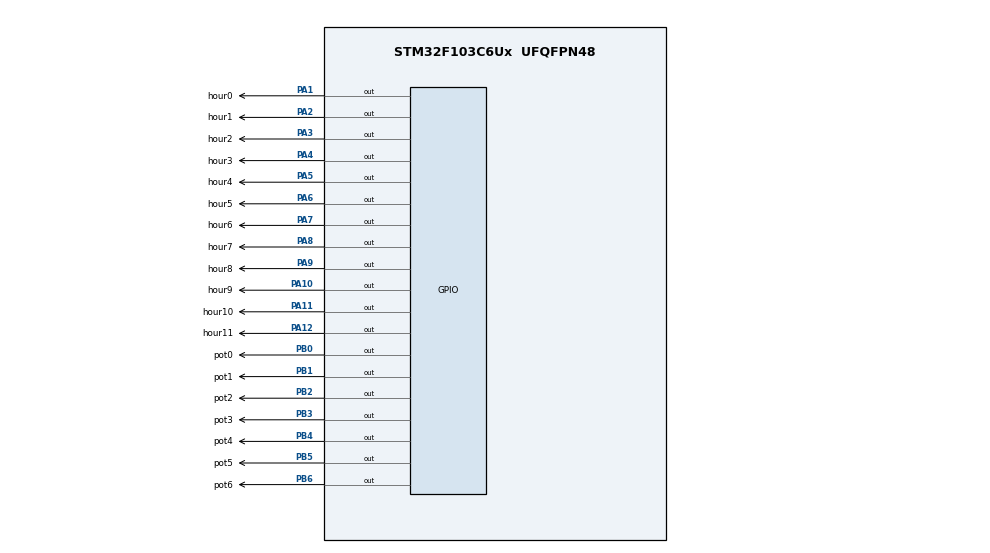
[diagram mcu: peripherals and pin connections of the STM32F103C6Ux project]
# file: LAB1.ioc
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Mcu.Family=STM32F1
Mcu.Name=STM32F103C6Ux
Mcu.Package=UFQFPN48
NVIC.PriorityGroup=NVIC_PRIORITYGROUP_4
PA1.GPIO_Label=hour0
PA1.Signal=GPIO_Output
PA10.GPIO_Label=hour9
PA10.Signal=GPIO_Output
PA11.GPIO_Label=hour10
PA11.Signal=GPIO_Output
PA12.GPIO_Label=hour11
PA12.Signal=GPIO_Output
PA2.GPIO_Label=hour1
PA2.Signal=GPIO_Output
PA3.GPIO_Label=hour2
PA3.Signal=GPIO_Output
PA4.GPIO_Label=hour3
PA4.Signal=GPIO_Output
PA5.GPIO_Label=hour4
PA5.Signal=GPIO_Output
PA6.GPIO_Label=hour5
PA6.Signal=GPIO_Output
PA7.GPIO_Label=hour6
PA7.Signal=GPIO_Output
PA8.GPIO_Label=hour7
PA8.Signal=GPIO_Output
PA9.GPIO_Label=hour8
PA9.Signal=GPIO_Output
PB0.GPIO_Label=pot0
PB0.Signal=GPIO_Output
PB1.GPIO_Label=pot1
PB1.Signal=GPIO_Output
PB2.GPIO_Label=pot2
PB2.Signal=GPIO_Output
PB3.GPIO_Label=pot3
PB3.Signal=GPIO_Output
PB4.GPIO_Label=pot4
PB4.Signal=GPIO_Output
PB5.GPIO_Label=pot5
PB5.Signal=GPIO_Output
PB6.GPIO_Label=pot6
PB6.Signal=GPIO_Output
ProjectManager.HeapSize=0x200
ProjectManager.StackSize=0x400
ProjectManager.TargetToolchain=STM32CubeIDE
RCC.APB1Freq_Value=8000000
RCC.APB2Freq_Value=8000000
board=custom

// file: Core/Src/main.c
/* USER CODE BEGIN Header */
/**
  ******************************************************************************
  * @file           : main.c
  * @brief          : Main program body
  ******************************************************************************
  * @attention
  *
  * Copyright (c) 2023 STMicroelectronics.
  * All rights reserved.
  *
  * This software is licensed under terms that can be found in the LICENSE file
  * in the root directory of this software component.
  * If no LICENSE file comes with this software, it is provided AS-IS.
  *
  ******************************************************************************
  */
/* USER CODE END Header */
#include "main.h"

void SystemClock_Config(void);
static void MX_GPIO_Init(void);

void clearALLClock(){
    //TODO
    for(int i = 1 ; i <= 12; i++)
{
    HAL_GPIO_WritePin(GPIOA, 1 << i, RESET);
}
}
void clearNumberOnClock(int num)
{
	HAL_GPIO_WritePin(GPIOA, 1 << (num + 1), RESET);
}
void setNumberOnclock(int num)
{
	HAL_GPIO_WritePin(GPIOA, 1 << (num + 1), SET);
}
int main(void)
{

  /* MCU Configuration--------------------------------------------------------*/

  /* Reset of all peripherals, Initializes the Flash interface and the Systick. */
  HAL_Init();

  /* Configure the system clock */
  SystemClock_Config();

  /* Initialize all configured peripherals */
  MX_GPIO_Init();

  /* Infinite loop */
  /* USER CODE BEGIN WHILE */
  HAL_GPIO_WritePin(hour0_GPIO_Port, hour0_Pin, SET);
  HAL_GPIO_WritePin(hour1_GPIO_Port, hour1_Pin, SET);
  HAL_GPIO_WritePin(hour2_GPIO_Port, hour2_Pin, SET);
  HAL_GPIO_WritePin(hour3_GPIO_Port, hour3_Pin, SET);
  HAL_GPIO_WritePin(hour4_GPIO_Port, hour4_Pin, SET);
  HAL_GPIO_WritePin(hour5_GPIO_Port, hour5_Pin, SET);

  HAL_GPIO_WritePin(hour6_GPIO_Port, hour6_Pin, SET);
  HAL_GPIO_WritePin(hour7_GPIO_Port, hour7_Pin, SET);
  HAL_GPIO_WritePin(hour8_GPIO_Port, hour8_Pin, SET);
  HAL_GPIO_WritePin(hour9_GPIO_Port, hour9_Pin, SET);
  HAL_GPIO_WritePin(hour10_GPIO_Port, hour10_Pin, SET);
  HAL_GPIO_WritePin(hour11_GPIO_Port, hour11_Pin, SET);

  HAL_GPIO_TogglePin(hour0_GPIO_Port, hour0_Pin);
  HAL_GPIO_TogglePin(hour1_GPIO_Port, hour1_Pin);
  HAL_GPIO_TogglePin(hour2_GPIO_Port, hour2_Pin);
  HAL_GPIO_TogglePin(hour3_GPIO_Port, hour3_Pin);
  HAL_GPIO_TogglePin(hour4_GPIO_Port, hour4_Pin);
  HAL_GPIO_TogglePin(hour5_GPIO_Port, hour5_Pin);
  HAL_GPIO_TogglePin(hour6_GPIO_Port, hour6_Pin);
  HAL_GPIO_TogglePin(hour7_GPIO_Port, hour7_Pin);
  HAL_GPIO_TogglePin(hour8_GPIO_Port, hour8_Pin);
  HAL_GPIO_TogglePin(hour9_GPIO_Port, hour9_Pin);
  HAL_GPIO_TogglePin(hour10_GPIO_Port, hour10_Pin);
  HAL_GPIO_TogglePin(hour11_GPIO_Port, hour11_Pin);

  int hour = 3, min =4, sec = 38;
while (1)
{
	 if(sec ==0)
	 {
		clearALLClock();
	 }
	 else
		 clearNumberOnClock((sec-1)/5);
	 if(min == 0)
	 {
		 clearALLClock();
	 }
	 else clearNumberOnClock((min-1)/5);
	 clearNumberOnClock(hour - 1);
	 setNumberOnclock(sec/5);
	 setNumberOnclock(min/5);
	 setNumberOnclock(hour);
	 sec++;
	 if(sec >= 60)
	 {
		 sec = 0 ;
		 min++;
	 }
	 if( min >= 60)
	 {
		 min = 0;
		 hour++;
	 }
	 hour = hour%12;
	 HAL_Delay(1000);
    /* USER CODE END WHILE */

  }
}

void SystemClock_Config(void)
{
  RCC_OscInitTypeDef RCC_OscInitStruct = {0};
  RCC_ClkInitTypeDef RCC_ClkInitStruct = {0};

  /** Initializes the RCC Oscillators according to the specified parameters
  * in the RCC_OscInitTypeDef structure.
  */
  RCC_OscInitStruct.OscillatorType = RCC_OSCILLATORTYPE_HSI;
  RCC_OscInitStruct.HSIState = RCC_HSI_ON;
  RCC_OscInitStruct.HSICalibrationValue = RCC_HSICALIBRATION_DEFAULT;
  RCC_OscInitStruct.PLL.PLLState = RCC_PLL_NONE;
  if (HAL_RCC_OscConfig(&RCC_OscInitStruct) != HAL_OK)
  {
    Error_Handler();
  }

  /** Initializes the CPU, AHB and APB buses clocks
  */
  RCC_ClkInitStruct.ClockType = RCC_CLOCKTYPE_HCLK|RCC_CLOCKTYPE_SYSCLK
                              |RCC_CLOCKTYPE_PCLK1|RCC_CLOCKTYPE_PCLK2;
  RCC_ClkInitStruct.SYSCLKSource = RCC_SYSCLKSOURCE_HSI;
  RCC_ClkInitStruct.AHBCLKDivider = RCC_SYSCLK_DIV1;
  RCC_ClkInitStruct.APB1CLKDivider = RCC_HCLK_DIV1;
  RCC_ClkInitStruct.APB2CLKDivider = RCC_HCLK_DIV1;

  if (HAL_RCC_ClockConfig(&RCC_ClkInitStruct, FLASH_LATENCY_0) != HAL_OK)
  {
    Error_Handler();
  }
}

static void MX_GPIO_Init(void)
{
  GPIO_InitTypeDef GPIO_InitStruct = {0};

  /* GPIO Ports Clock Enable */
  __HAL_RCC_GPIOA_CLK_ENABLE();
  __HAL_RCC_GPIOB_CLK_ENABLE();

  /*Configure GPIO pin Output Level */
  HAL_GPIO_WritePin(GPIOA, hour0_Pin|hour1_Pin|hour2_Pin|hour3_Pin
                          |hour4_Pin|hour5_Pin|hour6_Pin|hour7_Pin
                          |hour8_Pin|hour9_Pin|hour10_Pin|hour11_Pin, GPIO_PIN_RESET);

  /*Configure GPIO pin Output Level */
  HAL_GPIO_WritePin(GPIOB, pot0_Pin|pot1_Pin|pot2_Pin|pot3_Pin
                          |pot4_Pin|pot5_Pin|pot6_Pin, GPIO_PIN_RESET);

  /*Configure GPIO pins : hour0_Pin hour1_Pin hour2_Pin hour3_Pin
                           hour4_Pin hour5_Pin hour6_Pin hour7_Pin
                           hour8_Pin hour9_Pin hour10_Pin hour11_Pin */
  GPIO_InitStruct.Pin = hour0_Pin|hour1_Pin|hour2_Pin|hour3_Pin
                          |hour4_Pin|hour5_Pin|hour6_Pin|hour7_Pin
                          |hour8_Pin|hour9_Pin|hour10_Pin|hour11_Pin;
  GPIO_InitStruct.Mode = GPIO_MODE_OUTPUT_PP;
  GPIO_InitStruct.Pull = GPIO_NOPULL;
  GPIO_InitStruct.Speed = GPIO_SPEED_FREQ_LOW;
  HAL_GPIO_Init(GPIOA, &GPIO_InitStruct);

  /*Configure GPIO pins : pot0_Pin pot1_Pin pot2_Pin pot3_Pin
                           pot4_Pin pot5_Pin pot6_Pin */
  GPIO_InitStruct.Pin = pot0_Pin|pot1_Pin|pot2_Pin|pot3_Pin
                          |pot4_Pin|pot5_Pin|pot6_Pin;
  GPIO_InitStruct.Mode = GPIO_MODE_OUTPUT_PP;
  GPIO_InitStruct.Pull = GPIO_NOPULL;
  GPIO_InitStruct.Speed = GPIO_SPEED_FREQ_LOW;
  HAL_GPIO_Init(GPIOB, &GPIO_InitStruct);

}

void Error_Handler(void)
{
  __disable_irq();
  while (1)
  {
  }
}
